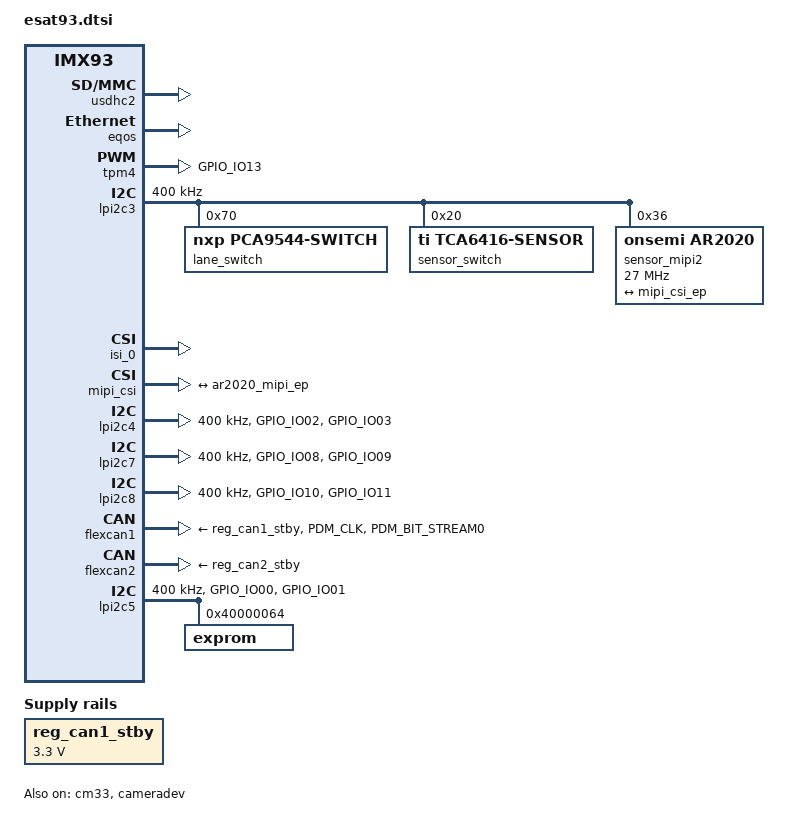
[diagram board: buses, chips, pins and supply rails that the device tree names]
// SPDX-License-Identifier: (GPL-2.0+ OR MIT)

#include "ucm-imx93.dtsi"
#include "ucm-imx93-lvds.dtsi"

/* Override CMA size from ucm-imx93.dtsi */
&{/reserved-memory/linux,cma} {
        size = <0 0x20000000>; /* Override to 512MB */
};

/* ------------------------------------------------ */
/* RPMSG Reserved Memory for M33 Communication */
/* ------------------------------------------------ */
&{/reserved-memory} {
    rsc_table {
        reg = <0 0xa401f000 0 0x1000>;
    };

    rpmsg_dma_buffer: rpmsg-dma@a4220000 {
        compatible = "shared-dma-pool";
        reg = <0 0xa4220000 0 0x8000000>; /* 128MB */
        no-map;
    };
};


/* ------------------------------------------------ */
/* Disable some default hardware */
/* ------------------------------------------------ */
/* Disable UART2 (DB9) */
&lpuart2 {
        status = "disabled";
};

/* Disable UART5 (BT) */
&lpuart5 {
        status = "disabled";
};

/* Enable CM33 remoteproc with RPMSG memory regions */
&cm33 {
	memory-region = <&vdevbuffer>, <&vdev0vring0>, <&vdev0vring1>,
			<&vdev1vring0>, <&vdev1vring1>, <&rsc_table>,
			<&rpmsg_dma_buffer>;
	status = "okay";
};

&lvds_backlight {
    status = "disabled";
};

&lcdif {
    status = "disabled";
};

&ldb {
    status = "disabled";
};

&ldb_phy {
    status = "disabled";
};

&goodix_ts {
    status = "disabled";
};

&usdhc3 {
    status = "disabled";
};

&usdhc2 {
    cap-sd-highspeed;
    max-frequency = <52000000>;  
    no-1-8-v;                   
    disable-wp;             
    no-sdio;
    no-mmc;
    status = "okay";
};


/* Disable Ethernet EQOS (eth0) */
&eqos {
        status = "okay";
};

&tpm4 {
        pinctrl-names = "default";
        pinctrl-0 = <&pinctrl_tpm4>;
        status = "okay";
};
/* ------------------------------------------------ */
/* MIPI CSI2 */
/* ------------------------------------------------ */
&cameradev {
        status = "okay";
};


/* I2C3 + AR2020 camera */
&lpi2c3 {
	#address-cells = <1>;
	#size-cells = <0>;
	clock-frequency = <400000>;
	pinctrl-names = "default", "sleep";
	pinctrl-0 = <&pinctrl_lpi2c3>;
	pinctrl-1 = <&pinctrl_lpi2c3>;
	status = "okay";

	lane_switch: pca9544@70 {
		compatible = "nxp,pca9544-switch";
		reg = <0x70>;
		status = "okay";
	};

	sensor_switch: tca6416@20 {
		compatible = "ti,tca6416-sensor";
		reg = <0x20>;
		status = "okay";
	};

	sensor_mipi2: mipi2@36 {
		compatible = "onsemi,ar2020";
		reg = <0x36>;
		clocks = <&clk IMX93_CLK_MIPI_PHY_CFG>;
                clock-names = "xvclk";
                clock-frequency = <27000000>;
		/* clock source sensor */
		mclk = <24000000>;
		mclk_source = <0>;
		mipi_csi;
		camera_mipi_lanes = <2>;
		status = "okay";

		port {
			ar2020_mipi_ep: endpoint {
				remote-endpoint = <&mipi_csi_ep>;
				clock-lanes = <0>;
				data-lanes = <1 2>;
				link-frequencies = /bits/ 64 <600000000>;
				clock-noncontinuous;
			};
		};
	};
};


&isi_0 {
	status = "okay";

	cap_device {
		status = "okay";
	};
};


/* MIPI CSI interface */
&mipi_csi {
	#address-cells = <1>;
	#size-cells = <0>;
	status = "okay";

	port@0 {
		reg = <0>;
		mipi_csi_ep: endpoint {

			remote-endpoint = <&ar2020_mipi_ep>;
			data-lanes = <2>;
                        cfg-clk-range = <40>;
                        hs-clk-range = <0x07>;
			bus-type = <4>;
			clock-noncontinuous;
		};
	};
};

/* Disable default device */
&lpi2c3 {
	wm8962@1a { status = "disabled"; };
	pca9555@20 { status = "disabled"; };
	eeprom@54 { status = "disabled"; };
	goodix@5d { status = "disabled"; };
};

/* ------------------------------------------------ */
/* Disable for pinmux */
/* ------------------------------------------------ */
&lpuart7 {
    status = "disabled";
    pinctrl-0 = <>;
    pinctrl-names = "";
};

/* ------------------------------------------------ */
/* IO Mux */
/* ------------------------------------------------ */
&iomuxc {
    pinctrl_lpi2c4: lpi2c4grp {
        fsl,pins = <
            MX93_PAD_GPIO_IO02__LPI2C4_SDA      0x40000b9e
            MX93_PAD_GPIO_IO03__LPI2C4_SCL      0x40000b9e
        >;
    };

    pinctrl_lpi2c7: lpi2c7grp {
        fsl,pins = <
            MX93_PAD_GPIO_IO08__LPI2C7_SDA      0x40000b9e
            MX93_PAD_GPIO_IO09__LPI2C7_SCL      0x40000b9e
        >;
    };

    pinctrl_lpi2c8: lpi2c8grp {
        fsl,pins = <
            MX93_PAD_GPIO_IO10__LPI2C8_SDA      0x40000b9e
            MX93_PAD_GPIO_IO11__LPI2C8_SCL      0x40000b9e
        >;
    };

    usbpwr_gpio_pins: usbpwr_gpio_pins {
        fsl,pins = <
            MX93_PAD_SD3_CLK__GPIO3_IO20        0x31
            MX93_PAD_SD3_CMD__GPIO3_IO21        0x31
            MX93_PAD_SD3_DATA0__GPIO3_IO22      0x31
            MX93_PAD_SD3_DATA1__GPIO3_IO23      0x31
            MX93_PAD_SD3_DATA2__GPIO3_IO24      0x31
            MX93_PAD_SD3_DATA3__GPIO3_IO25      0x31
        >;
    };

    custom_gpio_pins: custom_gpio_pins {
        fsl,pins = <
            MX93_PAD_ENET2_RD2__GPIO4_IO26      0x31
            MX93_PAD_ENET2_TD1__GPIO4_IO18      0x31
        >;
    };

    pinctrl_flexcan1: flexcan1grp {
        fsl,pins = <
	    MX93_PAD_PDM_CLK__CAN1_TX		0x139e
	    MX93_PAD_PDM_BIT_STREAM0__CAN1_RX	0x139e
	>;
    };

    pinctrl_lpi2c5: lpi2c5grp {
	 fsl,pins = <
	    MX93_PAD_GPIO_IO00__LPI2C5_SDA	0x40000b9e
	    MX93_PAD_GPIO_IO01__LPI2C5_SCL	0x40000b9e
	>;
    };
  
    pinctrl_tpm4: tpm4grp {
        fsl,pins = <
            MX93_PAD_GPIO_IO13__TPM4_CH2	0x59e
        >;
    };

    pinctrl_if_pwr: if_pwr_pins {
        fsl,pins = <
            MX93_PAD_GPIO_IO17__GPIO2_IO17      0x31e
        >;
    };
};

/* ------------------------------------------------ */
/* New Peripherals */
/* ------------------------------------------------ */
&lpi2c4 {
    #address-cells = <1>;
    #size-cells = <0>;
    clock-frequency = <400000>;
    pinctrl-names = "default", "sleep";
    pinctrl-0 = <&pinctrl_lpi2c4>;
    pinctrl-1 = <&pinctrl_lpi2c4>;
    status = "okay";
};

&lpi2c7 {
    #address-cells = <1>;
    #size-cells = <0>;
    clock-frequency = <400000>;
    pinctrl-names = "default", "sleep";
    pinctrl-0 = <&pinctrl_lpi2c7>;
    pinctrl-1 = <&pinctrl_lpi2c7>;
    status = "okay";
};

&lpi2c8 {
    #address-cells = <1>;
    #size-cells = <0>;
    clock-frequency = <400000>;
    pinctrl-names = "default", "sleep";
    pinctrl-0 = <&pinctrl_lpi2c8>;
    pinctrl-1 = <&pinctrl_lpi2c8>;
    status = "okay";
};

&reg_can2_stby {
    /delete-property/ gpio;
    /delete-property/ enable-active-low;
    enable-active-high;
};

/ {
    reg_can1_stby: regulator-can1-stby {
        compatible = "regulator-fixed";
        regulator-name = "can1-stby";
        regulator-min-microvolt = <3300000>;
        regulator-max-microvolt = <3300000>;
        enable-active-high;
        status = "okay";
    };
};

&usdhc3_pwrseq {
    status = "disabled";
};

&usdhc3 {
    /delete-property/ mmc-pwrseq;
};

&flexcan1 {
    pinctrl-names = "default";
    pinctrl-0 = <&pinctrl_flexcan1>;
    xceiver-supply = <&reg_can1_stby>;
    status = "okay";
};

&flexcan2 {
    pinctrl-names = "default";
    pinctrl-0 = <&pinctrl_flexcan2>;
    xceiver-supply = <&reg_can2_stby>;
    status = "okay";
};

/* lpi2c5 work as a lpi2c master bus */
&lpi2c5 {
	clock-frequency = <400000>;
	pinctrl-names = "default";
	pinctrl-0 = <&pinctrl_lpi2c5>;
	status = "okay";

	exprom@64 {
		compatible = "linux,exprom";
		reg = <0x40000064>;
		status = "okay";
	};
};

/* ------------------------------------------------ */
/* New GPIOs */
/* ------------------------------------------------ */
&gpio3 {
    pinctrl-names = "default";
    pinctrl-0 = <&usbpwr_gpio_pins>;
    status = "okay";
   
    gpio-line-names =
                     "", "", "", "", "", "", "", "", "", "", "", "", "", "", "", "", "", "", "", "", "USB_oEN", "USB_SEL1",
                     "USB_PWR0",
                     "USB_PWR1",
                     "USB_PWR2",
                     "USB_PWR3",
                     "", "", "";
};

&gpio4 {
    pinctrl-names = "default";
    pinctrl-0 = <&custom_gpio_pins>;
    status = "okay";

    gpio-line-names =
                     "", "", "", "", "", "", "", "", "", "", "", "", "", "", "", "", "", "", "I2C8_ENA", "", "", "",
                     "",
                     "",
                     "",
                     "",
                     "I2C5_ENA", "", "";
};

&gpio2 {
    pinctrl-names = "default";
    pinctrl-0 = <&pinctrl_if_pwr>;
    status = "okay";

    gpio-line-names =
                     "", "", "", "", "", "", "", "", "", "", "", "", "", "", "", "",
                     "", "IF_PWR", "", "", "", "", "", "", "", "", "", "", "", "", "", "";
};
